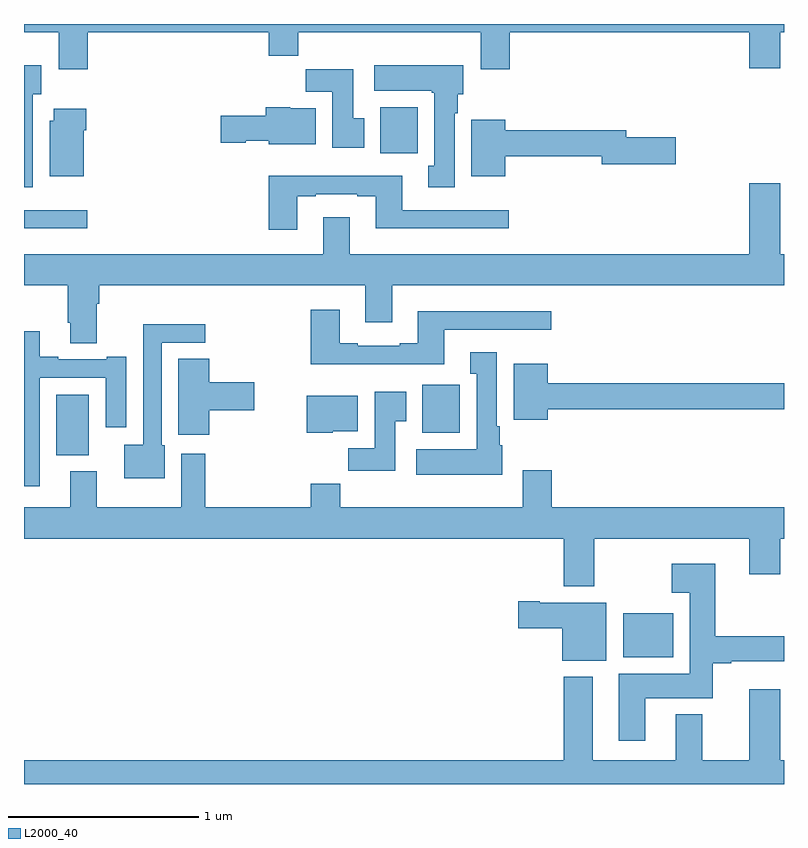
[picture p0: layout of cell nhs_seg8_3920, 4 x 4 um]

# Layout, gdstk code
import gdstk
lib = gdstk.Library(unit=1e-6, precision=1e-09)
def R(c, l, rs):  # rectangles x0, y0, x1, y1
    for r in rs: c.add(gdstk.rectangle(r[:2], r[2:], *l))
def P(c, l, *ps):  # polygons
    for p in ps: c.add(gdstk.Polygon(p, *l))
L2000_40 = (2000, 40)

nhs_seg8_3920 = lib.new_cell('nhs_seg8_3920')
R(nhs_seg8_3920, L2000_40, [(356.153,1090.568,356.416,1090.798), (353.171,1091.63,353.341,1091.95), (355.097,1091.75,355.293,1092.001), (353,1092.824,353.332,1092.921), (354.875,1093.22,355.072,1093.462)])
P(nhs_seg8_3920, L2000_40, [(353.336,1093.856),(354.287,1093.856),(354.287,1093.732),(354.443,1093.732),(354.443,1093.856),(355.403,1093.856),(355.403,1093.662),(355.556,1093.662),(355.556,1093.856),(356.816,1093.856),(356.816,1093.668),(356.98,1093.668),(356.98,1093.856),(357,1093.856),(357,1093.9),(353,1093.9),(353,1093.856),(353.183,1093.856),(353.183,1093.662),(353.336,1093.662)],
  [(355.267,1093.43),(355.282,1093.43),(355.282,1093.53),(355.312,1093.53),(355.312,1093.684),(354.843,1093.684),(354.843,1093.55),(355.147,1093.55),(355.147,1093.537),(355.16,1093.537),(355.16,1093.154),(355.127,1093.154),(355.127,1093.041),(355.267,1093.041)],
  [(353.047,1093.53),(353.092,1093.53),(353.092,1093.684),(353,1093.684),(353,1093.041),(353.047,1093.041)],
  [(354.79,1093.404),(354.733,1093.404),(354.733,1093.663),(354.484,1093.663),(354.484,1093.544),(354.623,1093.544),(354.623,1093.248),(354.79,1093.248)],
  [(354.535,1093.456),(354.402,1093.456),(354.402,1093.462),(354.272,1093.462),(354.272,1093.416),(354.036,1093.416),(354.036,1093.274),(354.168,1093.274),(354.168,1093.286),(354.288,1093.286),(354.288,1093.268),(354.535,1093.268)],
  [(353.314,1093.34),(353.327,1093.34),(353.327,1093.453),(353.156,1093.453),(353.156,1093.392),(353.135,1093.392),(353.135,1093.1),(353.314,1093.1)],
  [(355.534,1093.204),(356.042,1093.204),(356.042,1093.162),(356.431,1093.162),(356.431,1093.304),(356.17,1093.304),(356.17,1093.34),(355.534,1093.34),(355.534,1093.396),(355.355,1093.396),(355.355,1093.1),(355.534,1093.1)],
  [(354.439,1092.993),(354.535,1092.993),(354.535,1093.005),(354.755,1093.005),(354.755,1092.993),(354.851,1092.993),(354.851,1092.824),(355.552,1092.824),(355.552,1092.921),(354.991,1092.921),(354.991,1093.102),(354.287,1093.102),(354.287,1092.816),(354.439,1092.816)],
  [(353.383,1092.428),(353.396,1092.428),(353.396,1092.524),(354.797,1092.524),(354.797,1092.33),(354.937,1092.33),(354.937,1092.524),(357,1092.524),(357,1092.688),(356.98,1092.688),(356.98,1093.063),(356.816,1093.063),(356.816,1092.688),(354.715,1092.688),(354.715,1092.883),(354.575,1092.883),(354.575,1092.688),(353,1092.688),(353,1092.524),(353.231,1092.524),(353.231,1092.328),(353.243,1092.328),(353.243,1092.22),(353.383,1092.22)],
  [(355.213,1092.291),(355.774,1092.291),(355.774,1092.388),(355.073,1092.388),(355.073,1092.22),(354.977,1092.22),(354.977,1092.207),(354.757,1092.207),(354.757,1092.22),(354.661,1092.22),(354.661,1092.397),(354.509,1092.397),(354.509,1092.11),(355.213,1092.11)],
  [(353.74,1091.682),(353.724,1091.682),(353.724,1092.222),(353.953,1092.222),(353.953,1092.32),(353.628,1092.32),(353.628,1091.686),(353.528,1091.686),(353.528,1091.51),(353.74,1091.51)],
  [(353.082,1092.039),(353.429,1092.039),(353.429,1091.778),(353.539,1091.778),(353.539,1092.148),(353.435,1092.148),(353.435,1092.135),(353.179,1092.135),(353.179,1092.148),(353.083,1092.148),(353.083,1092.283),(353,1092.283),(353,1091.466),(353.082,1091.466)],
  [(355.516,1091.682),(355.504,1091.682),(355.504,1091.782),(355.489,1091.782),(355.489,1092.172),(355.349,1092.172),(355.349,1092.059),(355.382,1092.059),(355.382,1091.662),(355.065,1091.662),(355.065,1091.528),(355.516,1091.528)],
  [(353.975,1091.867),(354.211,1091.867),(354.211,1092.014),(353.975,1092.014),(353.975,1092.137),(353.813,1092.137),(353.813,1091.739),(353.975,1091.739)],
  [(355.756,1091.872),(357,1091.872),(357,1092.008),(355.756,1092.008),(355.756,1092.112),(355.577,1092.112),(355.577,1091.816),(355.756,1091.816)],
  [(354.955,1091.809),(355.012,1091.809),(355.012,1091.965),(354.845,1091.965),(354.845,1091.668),(354.706,1091.668),(354.706,1091.55),(354.955,1091.55)],
  [(354.624,1091.756),(354.757,1091.756),(354.757,1091.944),(354.488,1091.944),(354.488,1091.75),(354.624,1091.75)],
  [(356.001,1091.192),(356.816,1091.192),(356.816,1091.004),(356.98,1091.004),(356.98,1091.192),(357,1091.192),(357,1091.356),(355.778,1091.356),(355.778,1091.551),(355.625,1091.551),(355.625,1091.356),(354.665,1091.356),(354.665,1091.48),(354.509,1091.48),(354.509,1091.356),(353.954,1091.356),(353.954,1091.638),(353.828,1091.638),(353.828,1091.356),(353.383,1091.356),(353.383,1091.545),(353.243,1091.545),(353.243,1091.356),(353,1091.356),(353,1091.192),(355.841,1091.192),(355.841,1090.94),(356.001,1090.94)],
  [(356.269,1090.352),(356.626,1090.352),(356.626,1090.535),(356.722,1090.535),(356.722,1090.547),(357,1090.547),(357,1090.677),(356.639,1090.677),(356.639,1091.059),(356.409,1091.059),(356.409,1090.907),(356.504,1090.907),(356.504,1090.48),(356.129,1090.48),(356.129,1090.128),(356.269,1090.128)],
  [(356.065,1090.855),(355.714,1090.855),(355.714,1090.863),(355.602,1090.863),(355.602,1090.721),(355.832,1090.721),(355.832,1090.55),(356.065,1090.55)],
  [(357,1090.024),(356.98,1090.024),(356.98,1090.399),(356.816,1090.399),(356.816,1090.024),(356.569,1090.024),(356.569,1090.267),(356.429,1090.267),(356.429,1090.024),(355.993,1090.024),(355.993,1090.465),(355.841,1090.465),(355.841,1090.024),(353,1090.024),(353,1089.9),(357,1089.9)])

lib.write_gds('nhs_seg8_3920.gds')
